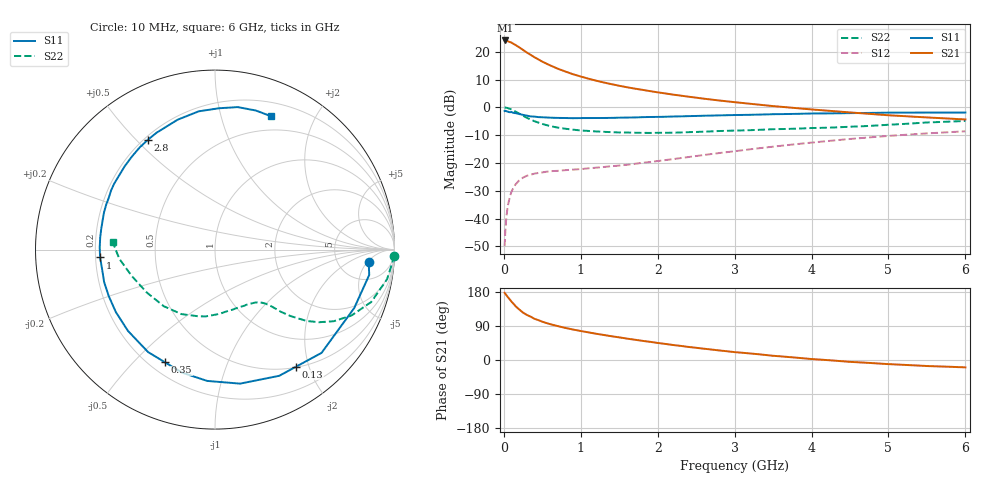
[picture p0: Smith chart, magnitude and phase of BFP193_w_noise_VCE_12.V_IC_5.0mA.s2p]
! (c) 2017  Infineon Technologies AG, Munich
! Infineon Technologies  Discrete & RF Semiconductors
! BFP193
! VCE =  12. V,  IC =  5.0 mA
! Common Emitter S-Parameters:  Jan 2017
# GHz  S  MA  R  50
!  f  S11  S21  S12  S22
! GHz  MAG  ANG  MAG  ANG  MAG  ANG  MAG  ANG
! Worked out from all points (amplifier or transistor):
!   77 points, 10 MHz to 6 GHz, reference 50 ohm
!   highest |S21| = 24.0 dB at 20 MHz (marker M1)
!   |S21| within 3 dB of that: start of sweep to 228.4 MHz
!   unconditionally stable (mu >= 1): 1.428 GHz to 2.603 GHz
!   at 130 MHz: K = 0.14, MSG = 25.7 dB, |S12| = -28.7 dB
!   at 2.2 GHz: K = 1.06, MAG = 10.1 dB, |S12| = -18.6 dB
!   at 6 GHz: K = 0.84, MSG = 2.1 dB, |S12| = -8.6 dB
!   lowest NFmin = 0.92 dB at 450 MHz
!   S11 on the Smith chart (normalised r, x): 10 MHz: 10, -5; 130 MHz: 0.51, -1.80; 350 MHz: 0.26, -0.62; 1 GHz: 0.22, -0.03; 2.8 GHz: 0.21, +0.54; 6 GHz: 0.34, +1.45
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0.01  0.8588 -4.7  15.81 177.2  0.0032 80.6  1 -1.9
0.02  0.8708 -9.3  15.94 174.6  0.0061 84.6  0.9909 -4.1
0.05  0.8414 -22.7  15.5 166.4  0.0163 77.8  0.9726 -9.8
0.1  0.8267 -44.1  14.59 153.9  0.0308 68.2  0.9176 -18.6
0.13  0.7935 -55.2  13.73 147.3  0.0367 61.9  0.8718 -22.8
0.15  0.789 -63.0  13.26 142.5  0.0409 58.7  0.844 -25.8
0.2  0.7597 -79.4  11.99 133.3  0.0488 52.2  0.7726 -31.1
0.25  0.7329 -93.4  10.77 125.0  0.0547 46.7  0.7056 -35.0
0.3  0.7095 -105.0  9.655 118.8  0.059 42.7  0.6471 -37.9
0.35  0.687 -113.9  8.757 114.2  0.0617 40.0  0.604 -39.5
0.4  0.6819 -123.1  7.928 108.6  0.0646 37.6  0.5615 -41.3
0.5  0.6635 -137.0  6.634 101.0  0.0678 34.6  0.503 -43.4
0.6  0.6529 -147.8  5.696 94.7  0.0712 33.2  0.4616 -44.6
1  0.6417 -176.1  3.581 76.5  0.0777 34.3  0.3845 -49.8
1.1  0.6426 178.8  3.277 72.9  0.0802 35.9  0.3768 -51.3
1.5  0.6523 161.4  2.443 59.7  0.0899 40.7  0.354 -60.0
2.1  0.6782 140.4  1.777 42.4  0.1129 46.6  0.349 -76.7
2.8  0.7176 121.3  1.329 25.2  0.1509 48.5  0.3757 -97.9
3.1  0.731 114.4  1.2 19.1  0.1694 47.7  0.3853 -106.5
4.1  0.7768 95.0  0.895 1.2  0.2399 40.9  0.4274 -135.4
5.1  0.8037 79.4  0.708 -11.8  0.3132 29.7  0.4947 -165.1
6  0.8062 67.1  0.606 -19.4  0.3716 18.4  0.5703 176.0
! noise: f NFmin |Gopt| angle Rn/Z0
0.45  0.92  0.28  104  0.1
0.9  1.03  0.39  150  0.07
1.9  1.97  0.61  -151  0.13
2.4  2.42  0.67  -131  0.35
